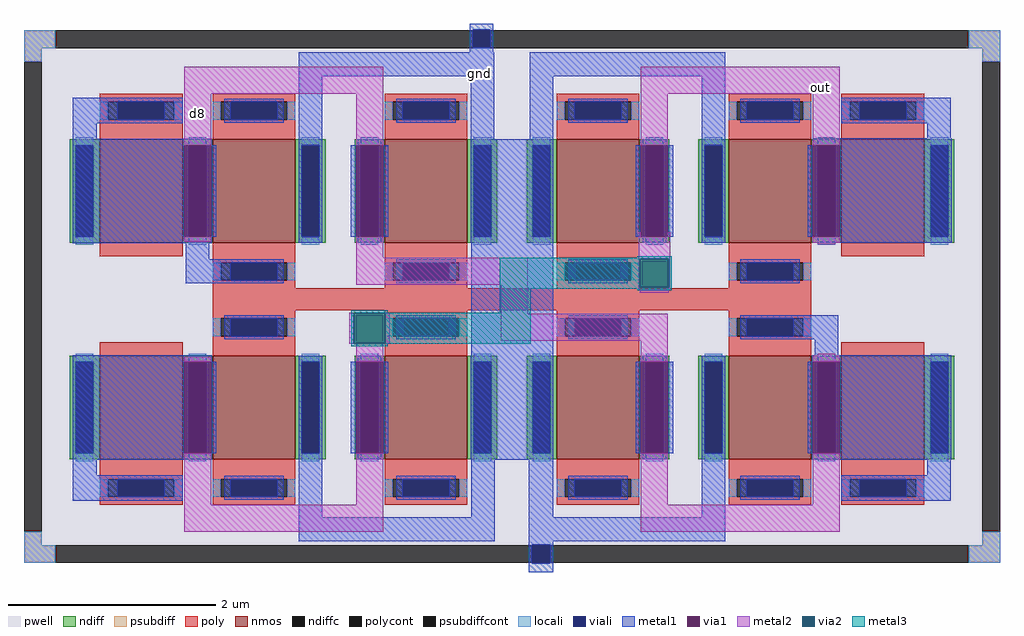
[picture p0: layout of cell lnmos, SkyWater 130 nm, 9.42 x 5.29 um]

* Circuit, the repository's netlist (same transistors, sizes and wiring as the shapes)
* NGSPICE file created from lnmos.ext - technology: sky130A

.subckt sky130_fd_pr__nfet_01v8_ENL4VF a_n80_n126# a_n138_n100# a_80_n100# VSUBS
X0 a_80_n100# a_n80_n126# a_n138_n100# VSUBS sky130_fd_pr__nfet_01v8 ad=0.29 pd=2.58 as=0.29 ps=2.58 w=1 l=0.8
.ends

.subckt sky130_fd_pr__nfet_01v8_9C8FNP a_n304_109# a_n578_21# a_n418_109# a_246_109#
+ a_28_109# a_578_n309# a_360_109# a_n636_109# a_86_21# a_578_109# a_418_21# a_n246_21#
+ a_n86_n309# a_86_n397# a_n246_n397# a_360_n309# a_n86_109# a_n304_n309# a_n418_n309#
+ a_418_n397# a_28_n309# a_n578_n397# a_246_n309# a_n636_n309# VSUBS
X0 a_246_109# a_86_21# a_28_109# VSUBS sky130_fd_pr__nfet_01v8 ad=0.29 pd=2.58 as=0.29 ps=2.58 w=1 l=0.8
X1 a_578_n309# a_418_n397# a_360_n309# VSUBS sky130_fd_pr__nfet_01v8 ad=0.29 pd=2.58 as=0.29 ps=2.58 w=1 l=0.8
X2 a_246_n309# a_86_n397# a_28_n309# VSUBS sky130_fd_pr__nfet_01v8 ad=0.29 pd=2.58 as=0.29 ps=2.58 w=1 l=0.8
X3 a_n418_n309# a_n578_n397# a_n636_n309# VSUBS sky130_fd_pr__nfet_01v8 ad=0.29 pd=2.58 as=0.29 ps=2.58 w=1 l=0.8
X4 a_n86_n309# a_n246_n397# a_n304_n309# VSUBS sky130_fd_pr__nfet_01v8 ad=0.29 pd=2.58 as=0.29 ps=2.58 w=1 l=0.8
X5 a_578_109# a_418_21# a_360_109# VSUBS sky130_fd_pr__nfet_01v8 ad=0.29 pd=2.58 as=0.29 ps=2.58 w=1 l=0.8
X6 a_n418_109# a_n578_21# a_n636_109# VSUBS sky130_fd_pr__nfet_01v8 ad=0.29 pd=2.58 as=0.29 ps=2.58 w=1 l=0.8
X7 a_n86_109# a_n246_21# a_n304_109# VSUBS sky130_fd_pr__nfet_01v8 ad=0.29 pd=2.58 as=0.29 ps=2.58 w=1 l=0.8
.ends

.subckt lnmos gnd out d8
Xsky130_fd_pr__nfet_01v8_ENL4VF_0 d8 d8 d8 gnd sky130_fd_pr__nfet_01v8_ENL4VF
Xsky130_fd_pr__nfet_01v8_ENL4VF_1 out out out gnd sky130_fd_pr__nfet_01v8_ENL4VF
Xsky130_fd_pr__nfet_01v8_ENL4VF_3 out out out gnd sky130_fd_pr__nfet_01v8_ENL4VF
Xsky130_fd_pr__nfet_01v8_ENL4VF_4 d8 d8 d8 gnd sky130_fd_pr__nfet_01v8_ENL4VF
Xsky130_fd_pr__nfet_01v8_9C8FNP_0 d8 d8 gnd out gnd d8 gnd d8 d8 out d8 d8 gnd d8
+ d8 gnd gnd out gnd d8 gnd d8 d8 out gnd sky130_fd_pr__nfet_01v8_9C8FNP
.ends

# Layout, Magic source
magic
tech sky130A
magscale 1 2
<< pwell >>
rect -306 -112 1578 916
<< psubdiff >>
rect -306 882 -246 916
rect 1518 882 1578 916
rect -306 856 -272 882
rect 1544 856 1578 882
rect -306 -78 -272 -52
rect 1544 -78 1578 -52
rect -306 -112 -246 -78
rect 1518 -112 1578 -78
<< psubdiffcont >>
rect -246 882 1518 916
rect -306 -52 -272 856
rect 1544 -52 1578 856
rect -246 -112 1518 -78
<< poly >>
rect -160 778 0 794
rect -160 744 -144 778
rect -16 744 0 778
rect -160 718 0 744
rect 1272 778 1432 794
rect 1272 744 1288 778
rect 1416 744 1432 778
rect 1272 717 1432 744
rect 58 376 1214 418
rect -160 50 0 77
rect -160 16 -144 50
rect -16 16 0 50
rect -160 0 0 16
rect 1272 50 1432 77
rect 1272 16 1288 50
rect 1416 16 1432 50
rect 1272 0 1432 16
<< polycont >>
rect -144 744 -16 778
rect 1288 744 1416 778
rect -144 16 -16 50
rect 1288 16 1416 50
<< locali >>
rect -306 882 -246 916
rect 1518 882 1578 916
rect -306 856 -272 882
rect 1544 856 1578 882
rect -160 744 -144 778
rect -16 744 0 778
rect 1272 744 1288 778
rect 1416 744 1432 778
rect -160 16 -144 50
rect -16 16 0 50
rect 1272 16 1288 50
rect 1416 16 1432 50
rect -306 -78 -272 -52
rect 1544 -78 1578 -52
rect -306 -112 -246 -78
rect 1518 -112 1578 -78
<< viali >>
rect 560 916 594 917
rect 560 883 594 916
rect -125 744 -35 778
rect 1307 744 1397 778
rect -125 16 -35 50
rect 1307 16 1397 50
rect 674 -78 710 -77
rect 674 -112 710 -78
rect 674 -113 710 -112
<< metal1 >>
rect 554 917 600 929
rect 554 883 560 917
rect 594 883 600 917
rect 554 874 600 883
rect 224 828 602 874
rect -212 778 0 786
rect -212 744 -125 778
rect -35 744 0 778
rect -212 737 0 744
rect -212 707 -166 737
rect -212 694 56 707
rect 224 697 270 828
rect 556 706 602 828
rect 670 828 1048 874
rect 670 706 716 828
rect 556 694 716 706
rect 1002 698 1048 828
rect 1272 778 1483 786
rect 1272 744 1307 778
rect 1397 744 1483 778
rect 1272 737 1483 744
rect 1438 708 1483 737
rect 1217 694 1485 708
rect -212 518 3 694
rect 55 518 65 694
rect 325 518 335 694
rect 387 518 397 694
rect -212 505 56 518
rect 6 474 52 505
rect 6 428 86 474
rect -212 276 56 289
rect -212 100 3 276
rect 55 100 65 276
rect 325 100 335 276
rect 387 100 397 276
rect -212 87 56 100
rect -212 57 -166 87
rect -212 50 0 57
rect -212 16 -125 50
rect -35 16 0 50
rect -212 8 0 16
rect 224 -24 270 94
rect 557 87 716 694
rect 875 518 885 694
rect 937 518 947 694
rect 1207 518 1217 694
rect 1269 518 1485 694
rect 1217 506 1485 518
rect 1186 320 1266 366
rect 1220 289 1266 320
rect 1216 276 1484 289
rect 875 100 885 276
rect 937 100 947 276
rect 1207 100 1217 276
rect 1269 100 1484 276
rect 557 -24 603 87
rect 224 -70 603 -24
rect 668 -24 716 87
rect 1002 -24 1048 95
rect 1216 87 1484 100
rect 1438 57 1483 87
rect 1272 50 1483 57
rect 1272 16 1307 50
rect 1397 16 1483 50
rect 1272 8 1483 16
rect 668 -70 1048 -24
rect 668 -77 716 -70
rect 668 -113 674 -77
rect 710 -113 716 -77
rect 668 -130 716 -113
<< via1 >>
rect 3 518 55 694
rect 335 518 387 694
rect 3 100 55 276
rect 335 100 387 276
rect 885 518 937 694
rect 1217 518 1269 694
rect 885 100 937 276
rect 1217 100 1269 276
<< metal2 >>
rect 3 794 387 846
rect 3 694 55 794
rect 3 508 55 518
rect 335 694 387 794
rect 885 794 1269 846
rect 885 694 937 794
rect 335 477 387 518
rect 881 518 885 526
rect 1217 694 1269 794
rect 937 518 941 526
rect 335 425 666 477
rect 322 311 331 371
rect 391 311 400 371
rect 614 369 666 425
rect 881 475 941 518
rect 1217 506 1269 518
rect 1226 503 1260 506
rect 881 419 883 475
rect 939 419 941 475
rect 881 417 941 419
rect 883 410 939 417
rect 614 317 937 369
rect 3 276 55 286
rect 3 0 55 100
rect 335 276 387 311
rect 335 0 387 100
rect 3 -52 387 0
rect 885 276 937 317
rect 1226 288 1260 292
rect 885 0 937 100
rect 1217 286 1268 288
rect 1217 276 1269 286
rect 1217 0 1269 100
rect 885 -52 1269 0
<< via2 >>
rect 331 311 391 371
rect 883 419 939 475
<< metal3 >>
rect 878 477 944 480
rect 612 475 944 477
rect 612 419 883 475
rect 939 419 944 475
rect 612 417 944 419
rect 326 371 396 376
rect 612 371 672 417
rect 878 414 944 417
rect 326 311 331 371
rect 391 311 672 371
rect 326 306 396 311
use sky130_fd_pr__nfet_01v8_9C8FNP  sky130_fd_pr__nfet_01v8_9C8FNP_0
transform 1 0 636 0 1 397
box -636 -397 636 397
use sky130_fd_pr__nfet_01v8_ENL4VF  sky130_fd_pr__nfet_01v8_ENL4VF_0
transform 1 0 -80 0 1 606
box -138 -126 138 126
use sky130_fd_pr__nfet_01v8_ENL4VF  sky130_fd_pr__nfet_01v8_ENL4VF_1
transform 1 0 -80 0 1 188
box -138 -126 138 126
use sky130_fd_pr__nfet_01v8_ENL4VF  sky130_fd_pr__nfet_01v8_ENL4VF_3
transform 1 0 1352 0 1 606
box -138 -126 138 126
use sky130_fd_pr__nfet_01v8_ENL4VF  sky130_fd_pr__nfet_01v8_ENL4VF_4
transform 1 0 1352 0 1 188
box -138 -126 138 126
<< labels >>
flabel metal1 573 832 573 832 0 FreeSans 1600 0 0 0 gnd
port 0 nsew
flabel metal2 1231 805 1231 805 0 FreeSans 1600 0 0 0 out
port 1 nsew
flabel metal2 29 756 29 756 0 FreeSans 1600 0 0 0 d8
port 2 nsew
<< end >>

# cell sky130_fd_pr__nfet_01v8_9C8FNP: kit device sky130_fd_pr__nfet_01v8, w 1 l 0.8 m 2 nf 4 diffcov 100 polycov 100 guard 0 glc 1 grc 1 gtc 1 gbc 1 tbcov 100 rlcov 100 topc 1 botc 1 poverlap 0 doverlap 0 lmin 0.15 wmin 0.42 compatible {sky130_fd_pr__nfet_01v8 sky130_fd_pr__nfet_01v8_lvt sky130_fd_bs_flash__special_sonosfet_star sky130_fd_pr__nfet_g5v0d10v5 sky130_fd_pr__nfet_05v0_nvt sky130_fd_pr__nfet_03v3_nvt} full_metal 1 viasrc 100 viadrn 100 viagate 70 viagb 0 viagr 0 viagl 0 viagt 0

# cell sky130_fd_pr__nfet_01v8_ENL4VF: kit device sky130_fd_pr__nfet_01v8, w 1 l 0.8 m 1 nf 1 diffcov 100 polycov 100 guard 0 glc 1 grc 1 gtc 1 gbc 1 tbcov 100 rlcov 100 topc 0 botc 0 poverlap 0 doverlap 1 lmin 0.15 wmin 0.42 compatible {sky130_fd_pr__nfet_01v8 sky130_fd_pr__nfet_01v8_lvt sky130_fd_bs_flash__special_sonosfet_star sky130_fd_pr__nfet_g5v0d10v5 sky130_fd_pr__nfet_05v0_nvt sky130_fd_pr__nfet_03v3_nvt} full_metal 1 viasrc 100 viadrn 100 viagate 70 viagb 0 viagr 0 viagl 0 viagt 0
